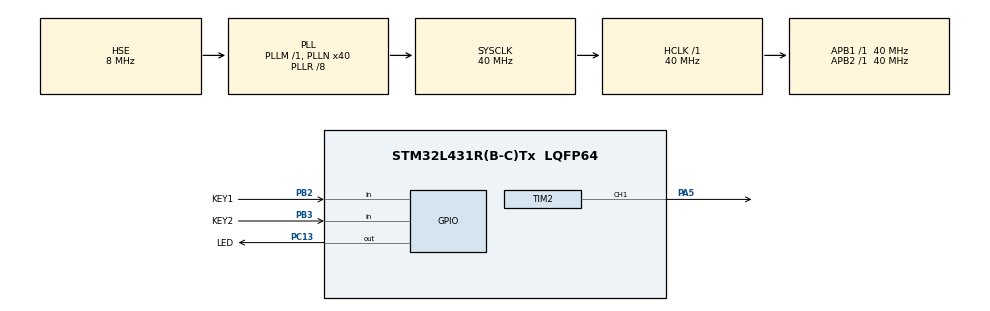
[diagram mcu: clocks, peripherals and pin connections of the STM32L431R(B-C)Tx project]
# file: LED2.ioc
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Mcu.Family=STM32L4
Mcu.Name=STM32L431R(B-C)Tx
Mcu.Package=LQFP64
NVIC.PriorityGroup=NVIC_PRIORITYGROUP_4
NVIC.TIM2_IRQn=true\:0\:0\:false\:false\:true\:true\:true
PA5.Signal=S_TIM2_CH1
PB2.GPIO_Label=KEY1
PB2.GPIO_PuPd=GPIO_PULLUP
PB2.Signal=GPIO_Input
PB3\ (JTDO-TRACESWO).GPIO_Label=KEY2
PB3\ (JTDO-TRACESWO).GPIO_PuPd=GPIO_PULLUP
PB3\ (JTDO-TRACESWO).Signal=GPIO_Input
PC13.GPIO_Label=LED
PC13.Signal=GPIO_Output
PC14-OSC32_IN\ (PC14).Mode=LSE-External-Oscillator
PC14-OSC32_IN\ (PC14).Signal=RCC_OSC32_IN
PC15-OSC32_OUT\ (PC15).Mode=LSE-External-Oscillator
PC15-OSC32_OUT\ (PC15).Signal=RCC_OSC32_OUT
PH0-OSC_IN\ (PH0).Mode=HSE-External-Oscillator
PH0-OSC_IN\ (PH0).Signal=RCC_OSC_IN
PH1-OSC_OUT\ (PH1).Mode=HSE-External-Oscillator
PH1-OSC_OUT\ (PH1).Signal=RCC_OSC_OUT
ProjectManager.HeapSize=0x200
ProjectManager.StackSize=0x400
ProjectManager.TargetToolchain=MDK-ARM V5
RCC.ADCFreq_Value=32000000
RCC.AHBFreq_Value=40000000
RCC.APB1Freq_Value=40000000
RCC.APB1TimFreq_Value=40000000
RCC.APB2Freq_Value=40000000
RCC.APB2TimFreq_Value=40000000
RCC.CortexFreq_Value=40000000
RCC.HCLKFreq_Value=40000000
RCC.HSE_VALUE=8000000
RCC.HSI48_VALUE=48000000
RCC.HSI_VALUE=16000000
RCC.MSI_VALUE=4000000
RCC.PLLN=40
RCC.PLLR=RCC_PLLR_DIV8
RCC.PLLSourceVirtual=RCC_PLLSOURCE_HSE
RCC.SYSCLKFreq_VALUE=40000000
RCC.SYSCLKSource=RCC_SYSCLKSOURCE_PLLCLK
RCC.VCOOutputFreq_Value=320000000
SH.S_TIM2_CH1.0=TIM2_CH1,PWM Generation1 CH1
TIM2.Channel-PWM\ Generation1\ CH1=TIM_CHANNEL_1
TIM2.Period=1000-1
TIM2.Prescaler=40-1
TIM2.Pulse-PWM\ Generation1\ CH1=500
VP_TIM2_VS_ClockSourceINT.Mode=Internal
board=custom

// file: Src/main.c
/* USER CODE BEGIN Header */
/**
  ******************************************************************************
  * @file           : main.c
  * @brief          : Main program body
  ******************************************************************************
  * @attention
  *
  * <h2><center>&copy; Copyright (c) 2021 STMicroelectronics.
  * All rights reserved.</center></h2>
  *
  * This software component is licensed by ST under BSD 3-Clause license,
  * the "License"; You may not use this file except in compliance with the
  * License. You may obtain a copy of the License at:
  *                        opensource.org/licenses/BSD-3-Clause
  *
  ******************************************************************************
  */
/* USER CODE END Header */

#include "main.h"
#include "tim.h"
#include "gpio.h"

void SystemClock_Config(void);

/* USER CODE BEGIN 0 */
void delay(uint32_t counter) {
while (counter --);
}
/* USER CODE END 0 */

int main(void)
{
  /* USER CODE BEGIN 1 */
	int i,k, b;
	b = 25000;
  /* USER CODE END 1 */

  /* MCU Configuration--------------------------------------------------------*/

  /* Reset of all peripherals, Initializes the Flash interface and the Systick. */
  HAL_Init();

  /* Configure the system clock */
  SystemClock_Config();

  /* Initialize all configured peripherals */
  MX_GPIO_Init();
  MX_TIM2_Init();

  /* Infinite loop */
  while (1)
  {

    /* USER CODE BEGIN 3 */
	 /*控制两个按键，实现选择实验一中的三种显示模式的轮换选择。
	  常亮模式，按F1切换为 闪烁模式，再按F2切换为 呼吸灯模式。
	 */
	 HAL_GPIO_WritePin(LED_GPIO_Port,LED_Pin,GPIO_PIN_SET);
	   if(HAL_GPIO_ReadPin(KEY1_GPIO_Port,KEY1_Pin)==GPIO_PIN_RESET)
	{	HAL_Delay(10);
	    if(HAL_GPIO_ReadPin(KEY1_GPIO_Port,KEY1_Pin)==GPIO_PIN_RESET)
		{
			while (1)
				{
					HAL_GPIO_TogglePin(LED_GPIO_Port,LED_Pin);
					HAL_Delay(500);
					if(HAL_GPIO_ReadPin(KEY2_GPIO_Port,KEY2_Pin)==GPIO_PIN_RESET)
						{
							HAL_GPIO_WritePin(LED_GPIO_Port,LED_Pin,GPIO_PIN_SET);
							break;
						}
				}
			HAL_GPIO_WritePin(LED_GPIO_Port,LED_Pin,GPIO_PIN_SET);
			if(HAL_GPIO_ReadPin(KEY2_GPIO_Port,KEY2_Pin)==GPIO_PIN_RESET)
				{
					HAL_Delay(10);
					if(HAL_GPIO_ReadPin(KEY2_GPIO_Port,KEY2_Pin)==GPIO_PIN_RESET)
						{
							abc:
							for (i=0; i < b; i++) {
								HAL_GPIO_TogglePin(LED_GPIO_Port,LED_Pin);
								delay(b - i*10);
								HAL_GPIO_TogglePin(LED_GPIO_Port,LED_Pin);
								delay(i*10);
								if(HAL_GPIO_ReadPin(KEY1_GPIO_Port,KEY1_Pin)==GPIO_PIN_RESET)
									{
										HAL_GPIO_WritePin(LED_GPIO_Port,LED_Pin,GPIO_PIN_SET);
										break;
									}
								if(i>=2500){
									for (i=0; i < b; i++) {
										HAL_GPIO_TogglePin(LED_GPIO_Port,LED_Pin);
										delay(i*10);
										HAL_GPIO_TogglePin(LED_GPIO_Port,LED_Pin);
										delay(b - i*10);
										if(HAL_GPIO_ReadPin(KEY1_GPIO_Port,KEY1_Pin)==GPIO_PIN_RESET)
											{
												HAL_GPIO_WritePin(LED_GPIO_Port,LED_Pin,GPIO_PIN_SET);
												break;
											}
										if(i>=2500){
										goto abc;}
									}
								}
							}

						}
				}

		}
	}
  }
  /* USER CODE END 3 */
}

void SystemClock_Config(void)
{
  RCC_OscInitTypeDef RCC_OscInitStruct = {0};
  RCC_ClkInitTypeDef RCC_ClkInitStruct = {0};

  /** Initializes the CPU, AHB and APB busses clocks
  */
  RCC_OscInitStruct.OscillatorType = RCC_OSCILLATORTYPE_HSE;
  RCC_OscInitStruct.HSEState = RCC_HSE_ON;
  RCC_OscInitStruct.PLL.PLLState = RCC_PLL_ON;
  RCC_OscInitStruct.PLL.PLLSource = RCC_PLLSOURCE_HSE;
  RCC_OscInitStruct.PLL.PLLM = 1;
  RCC_OscInitStruct.PLL.PLLN = 40;
  RCC_OscInitStruct.PLL.PLLP = RCC_PLLP_DIV7;
  RCC_OscInitStruct.PLL.PLLQ = RCC_PLLQ_DIV2;
  RCC_OscInitStruct.PLL.PLLR = RCC_PLLR_DIV8;
  if (HAL_RCC_OscConfig(&RCC_OscInitStruct) != HAL_OK)
  {
    Error_Handler();
  }
  /** Initializes the CPU, AHB and APB busses clocks
  */
  RCC_ClkInitStruct.ClockType = RCC_CLOCKTYPE_HCLK|RCC_CLOCKTYPE_SYSCLK
                              |RCC_CLOCKTYPE_PCLK1|RCC_CLOCKTYPE_PCLK2;
  RCC_ClkInitStruct.SYSCLKSource = RCC_SYSCLKSOURCE_PLLCLK;
  RCC_ClkInitStruct.AHBCLKDivider = RCC_SYSCLK_DIV1;
  RCC_ClkInitStruct.APB1CLKDivider = RCC_HCLK_DIV1;
  RCC_ClkInitStruct.APB2CLKDivider = RCC_HCLK_DIV1;

  if (HAL_RCC_ClockConfig(&RCC_ClkInitStruct, FLASH_LATENCY_2) != HAL_OK)
  {
    Error_Handler();
  }
  /** Configure the main internal regulator output voltage
  */
  if (HAL_PWREx_ControlVoltageScaling(PWR_REGULATOR_VOLTAGE_SCALE1) != HAL_OK)
  {
    Error_Handler();
  }
}

void Error_Handler(void)
{
}

/************************ (C) COPYRIGHT STMicroelectronics *****END OF FILE****/
